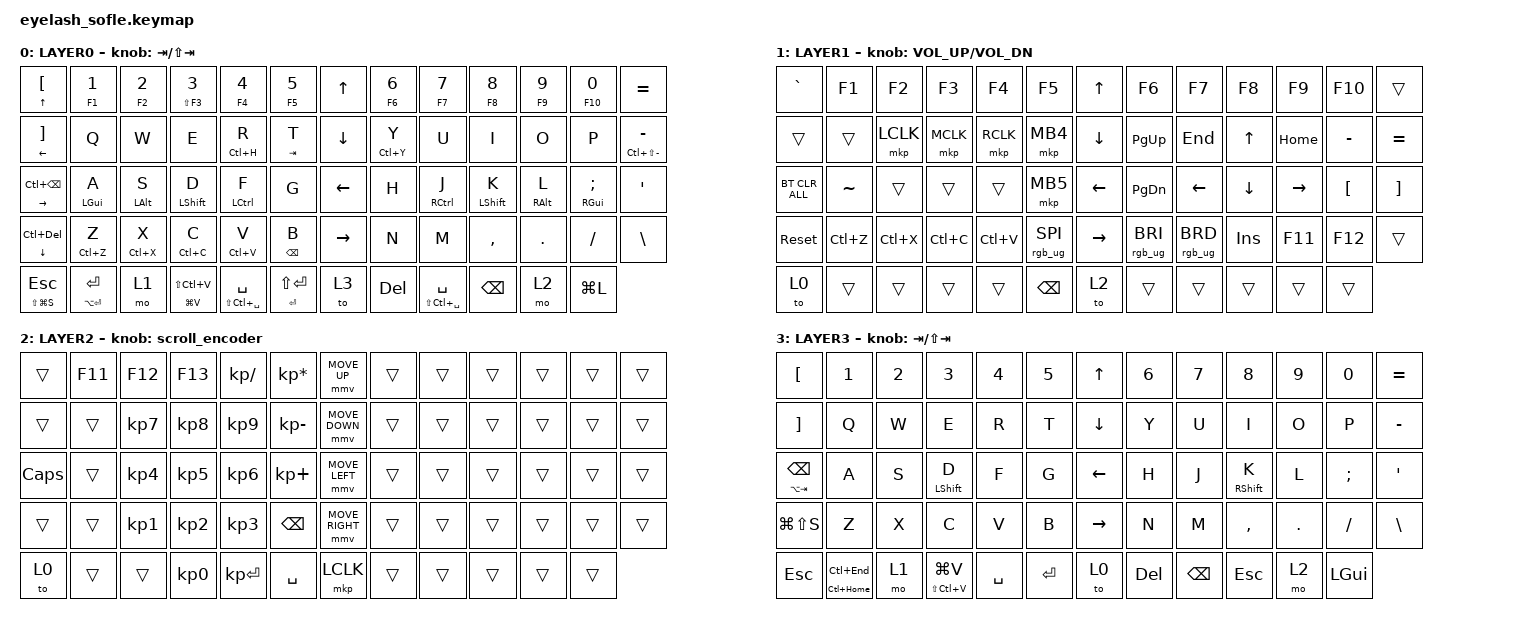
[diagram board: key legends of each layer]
#define ZMK_POINTING_DEFAULT_MOVE_VAL 1200  // 600
#define ZMK_POINTING_DEFAULT_SCRL_VAL 25   // 10

#include <input/processors.dtsi>
#include <zephyr/dt-bindings/input/input-event-codes.h>
#include <behaviors.dtsi>
#include <dt-bindings/zmk/bt.h>
#include <dt-bindings/zmk/keys.h>
#include <dt-bindings/zmk/pointing.h>
#include <dt-bindings/zmk/rgb.h>

&mmv_input_listener { input-processors = <&zip_xy_scaler 2 1>; };

&msc_input_listener { input-processors = <&zip_scroll_scaler 2 1>; };

&msc {
    acceleration-exponent = <1>;      // 0
    time-to-max-speed-ms = <100>;       // 300
    delay-ms = <0>;                   // 0
};

&mmv {
    time-to-max-speed-ms = <500>;
    acceleration-exponent = <1>;
    trigger-period-ms = <16>;
};

/ {
    scroll_encoder: scroll_encoder {
        compatible = "zmk,behavior-sensor-rotate";
        #sensor-binding-cells = <0>;
        bindings = <&msc SCRL_DOWN>, <&msc SCRL_UP>;

        tap-ms = <100>;
    };

    behaviors {
    };

    combos {
        compatible = "zmk,combos";

        combo_caps_word {
            bindings = <&caps_word>;
            key-positions = <57 59>;
            layers = <0>;
        };

        Layer_1 {
            bindings = <&to 1>;
            key-positions = <54 53>;
        };

        Layer_2 {
            bindings = <&to 2>;
            key-positions = <63 62>;
        };

        Layer_0 {
            bindings = <&to 0>;
            key-positions = <56 60>;
        };

        unlock_work {
            bindings = <&unlock_work>;
            key-positions = <63 51>;
        };

        BT_0 {
            bindings = <&bt BT_SEL 0>;
            key-positions = <44 11 18>;
        };

        BT_1 {
            bindings = <&bt BT_SEL 1>;
            key-positions = <44 1 18>;
        };

        BT_2 {
            bindings = <&bt BT_SEL 2>;
            key-positions = <44 2 18>;
        };

        BT_CLEAR {
            bindings = <&bt BT_CLR>;
            key-positions = <44 18 59>;
        };

        work_email {
            bindings = <&work_email>;
            key-positions = <2 16>;
        };

        work_phone_number {
            bindings = <&work_phone_number>;
            key-positions = <24 3>;
        };

        select_copy_queue_replace {
            bindings = <&select_copy_queue_replace>;
            key-positions = <28 17>;
        };
    };

    macros {
        unlock_work: unlock_work {
            compatible = "zmk,behavior-macro";
            #binding-cells = <0>;
            bindings = <&macro_tap>, <&kp T &kp N5 &kp R &kp G &kp T &kp PRCNT>;

            label = "UNLOCK_WORK";
            tap-ms = <50>;
        };

        work_phone_number: Phn_Num {
            compatible = "zmk,behavior-macro";
            #binding-cells = <0>;
            bindings =
                <&macro_tap>,
                <&kp KP_NUMBER_0 &kp KP_NUMBER_8 &kp SPACE &kp KP_NUMBER_9 &kp KP_NUMBER_2 &kp KP_NUMBER_6 &kp KP_NUMBER_2 &kp SPACE &kp KP_NUMBER_1 &kp KP_NUMBER_2 &kp KP_NUMBER_7 &kp KP_NUMBER_9>;

            label = "PHN_NUM";
        };

        work_email: work_email {
            compatible = "zmk,behavior-macro";
            #binding-cells = <0>;
            bindings =
                <&macro_tap>,
                <&kp LS(K) &kp A &kp L &kp L &kp A &kp N &kp DOT &kp LS(S) &kp C &kp R &kp O &kp O &kp P &kp AT &kp D &kp T &kp F &kp DOT &kp W &kp A &kp DOT &kp G &kp O &kp V &kp DOT &kp A &kp U>;

            label = "WORK_EMAIL";
        };

        select_copy_queue_replace: select_copy_queue_replace {
            compatible = "zmk,behavior-macro";
            #binding-cells = <0>;
            bindings =
                <&macro_tap>,
                <&kp LC(LEFT) &kp LS(LC(RIGHT)) &kp LS(LEFT_ARROW) &kp LC(C) &kp LC(H) &kp LC(V)>;

            label = "SELECT_COPY_QUEUE_REPLACE";
        };
    };

    keymap {
        compatible = "zmk,keymap";

        layer0 {
            bindings = <
&mt UP_ARROW LBKT        &mt F1 N1            &mt F2 N2       &mt LS(F3) N3        &mt F4 N4                &mt F5 N5              &kp UP_ARROW  &mt F6 N6    &mt F7 N7                &mt F8 N8         &mt F9 N9        &mt F10 N0          &kp EQUAL
&mt LEFT RBKT            &kp Q                &kp W           &kp E                &mt LC(H) R              &mt TAB T              &kp DOWN      &mt LC(Y) Y  &kp U                    &kp I             &kp O            &kp P               &mt LC(LS(MINUS)) MINUS
&mt RIGHT LC(BACKSPACE)  &mt LEFT_GUI A       &mt LEFT_ALT S  &mt LEFT_SHIFT D     &mt LCTRL F              &kp G                  &kp LEFT      &kp H        &mt RCTRL J              &mt LEFT_SHIFT K  &mt RIGHT_ALT L  &mt RIGHT_GUI SEMI  &kp APOSTROPHE
&mt DOWN LC(DEL)         &mt LC(Z) Z          &mt LC(X) X     &mt LC(C) C          &mt LC(V) V              &mt BACKSPACE B        &kp RIGHT     &kp N        &kp M                    &kp COMMA         &kp DOT          &kp FSLH            &kp BACKSLASH
&mt LS(LG(S)) ESCAPE     &mt LA(ENTER) ENTER  &mo 1           &mt LG(V) LS(LC(V))  &mt LS(LC(SPACE)) SPACE  &mt ENTER LS(ENTER)    &to 3         &kp DEL      &mt LS(LC(SPACE)) SPACE  &kp BACKSPACE     &mo 2            &kp LG(L)
            >;

            sensor-bindings = <&inc_dec_kp TAB LS(TAB)>;
            display-name = "LAYER0";
        };

        layer_1 {
            bindings = <
&kp GRAVE       &kp F1     &kp F2     &kp F3     &kp F4     &kp F5             &kp UP     &kp F6           &kp F7           &kp F8      &kp F9     &kp F10           &trans
&trans          &trans     &mkp LCLK  &mkp MCLK  &mkp RCLK  &mkp MB4           &kp DOWN   &kp PG_UP        &kp END          &kp UP      &kp HOME   &kp MINUS         &kp EQUAL
&bt BT_CLR_ALL  &kp TILDE  &trans     &trans     &trans     &mkp MB5           &kp LEFT   &kp PG_DN        &kp LEFT         &kp DOWN    &kp RIGHT  &kp LEFT_BRACKET  &kp RIGHT_BRACKET
&sys_reset      &kp LC(Z)  &kp LC(X)  &kp LC(C)  &kp LC(V)  &rgb_ug RGB_SPI    &kp RIGHT  &rgb_ug RGB_BRI  &rgb_ug RGB_BRD  &kp INSERT  &kp F11    &kp F12           &trans
&to 0           &trans     &trans     &trans     &trans     &kp BACKSPACE      &to 2      &trans           &trans           &trans      &trans     &trans
            >;

            display-name = "LAYER1";
            sensor-bindings = <&inc_dec_kp C_VOLUME_UP C_VOL_DN>;
        };

        layer_2 {
            bindings = <
&trans    &kp F11  &kp F12          &kp F13          &kp KP_DIVIDE    &kp KP_MULTIPLY    &mmv MOVE_UP     &trans  &trans  &trans  &trans  &trans  &trans
&trans    &trans   &kp KP_NUMBER_7  &kp KP_N8        &kp KP_NUMBER_9  &kp KP_SUBTRACT    &mmv MOVE_DOWN   &trans  &trans  &trans  &trans  &trans  &trans
&kp CAPS  &trans   &kp KP_NUMBER_4  &kp KP_NUMBER_5  &kp KP_NUMBER_6  &kp KP_PLUS        &mmv MOVE_LEFT   &trans  &trans  &trans  &trans  &trans  &trans
&trans    &trans   &kp KP_NUMBER_1  &kp KP_NUMBER_2  &kp KP_NUMBER_3  &kp BACKSPACE      &mmv MOVE_RIGHT  &trans  &trans  &trans  &trans  &trans  &trans
&to 0     &trans   &trans           &kp KP_NUMBER_0  &kp KP_ENTER     &kp SPACE          &mkp LCLK        &trans  &trans  &trans  &trans  &trans
            >;

            sensor-bindings = <&scroll_encoder>;
            label = "LAYER2";
        };

        layer_3 {
            display-name = "LAYER3";
            bindings = <
&kp LEFT_BRACKET       &kp N1                &kp N2  &kp N3               &kp N4     &kp N5       &kp UP_ARROW  &kp N6   &kp N7         &kp N8             &kp N9   &kp N0        &kp EQUAL
&kp RIGHT_BRACKET      &kp Q                 &kp W   &kp E                &kp R      &kp T        &kp DOWN      &kp Y    &kp U          &kp I              &kp O    &kp P         &kp MINUS
&mt LA(TAB) BACKSPACE  &kp A                 &kp S   &mt LEFT_SHIFT D     &kp F      &kp G        &kp LEFT      &kp H    &kp J          &mt RIGHT_SHIFT K  &kp L    &kp SEMI      &kp APOSTROPHE
&kp LG(LS(S))          &kp Z                 &kp X   &kp C                &kp V      &kp B        &kp RIGHT     &kp N    &kp M          &kp COMMA          &kp DOT  &kp FSLH      &kp BACKSLASH
&kp ESC                &mt LC(HOME) LC(END)  &mo 1   &mt LS(LC(V)) LG(V)  &kp SPACE  &kp ENTER    &to 0         &kp DEL  &kp BACKSPACE  &kp ESCAPE         &mo 2    &kp LEFT_GUI
            >;

            sensor-bindings = <&inc_dec_kp TAB LS(TAB)>;
        };
    };
};
